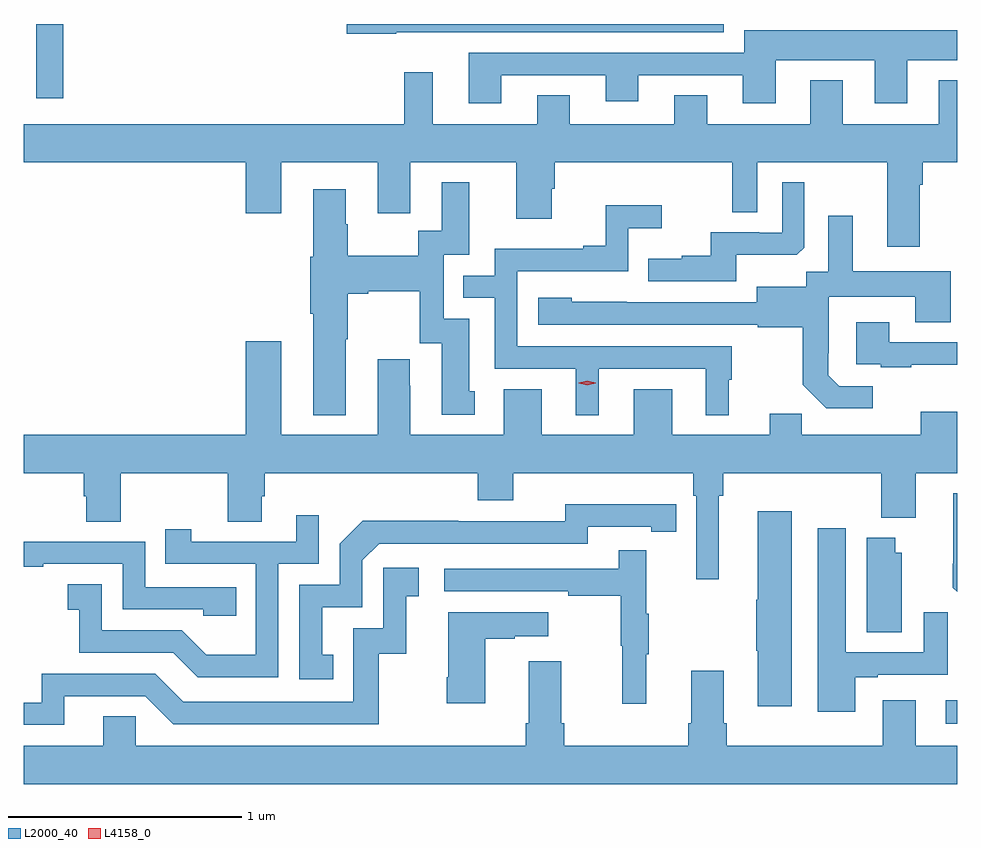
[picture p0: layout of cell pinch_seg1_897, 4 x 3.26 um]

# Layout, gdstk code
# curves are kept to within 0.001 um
import gdstk
lib = gdstk.Library(unit=1e-6, precision=1e-09)
def R(c, l, rs):  # rectangles x0, y0, x1, y1
    for r in rs: c.add(gdstk.rectangle(r[:2], r[2:], *l))
def P(c, l, *ps):  # polygons
    for p in ps: c.add(gdstk.Polygon(p, *l))
L2000_40 = (2000, 40)
L4158_0 = (4158, 0)

pinch_seg1_897 = lib.new_cell('pinch_seg1_897')
R(pinch_seg1_897, L2000_40, [(246.951,558.65,247.001,558.751), (243.054,561.33,243.17,561.649)])
P(pinch_seg1_897, L2000_40, [(244.598,561.614),(246.001,561.614),(246.001,561.649),(244.386,561.649),(244.386,561.607),(244.598,561.607)],
  [(245.047,561.429),(245.495,561.429),(245.495,561.317),(245.635,561.317),(245.635,561.429),(246.083,561.429),(246.083,561.309),(246.223,561.309),(246.223,561.494),(246.647,561.494),(246.647,561.309),(246.787,561.309),(246.787,561.494),(247.001,561.494),(247.001,561.622),(246.089,561.622),(246.089,561.525),(244.907,561.525),(244.907,561.309),(245.047,561.309)],
  [(246.841,560.96),(246.854,560.96),(246.854,561.056),(247.001,561.056),(247.001,561.409),(246.923,561.409),(246.923,561.22),(246.511,561.22),(246.511,561.409),(246.371,561.409),(246.371,561.22),(245.929,561.22),(245.929,561.344),(245.789,561.344),(245.789,561.22),(245.341,561.22),(245.341,561.344),(245.201,561.344),(245.201,561.22),(244.753,561.22),(244.753,561.442),(244.632,561.442),(244.632,561.22),(243.001,561.22),(243.001,561.056),(243.953,561.056),(243.953,560.838),(244.105,560.838),(244.105,561.056),(244.517,561.056),(244.517,560.838),(244.657,560.838),(244.657,561.056),(245.111,561.056),(245.111,560.814),(245.263,560.814),(245.263,560.943),(245.276,560.943),(245.276,561.056),(246.036,561.056),(246.036,560.842),(246.144,560.842),(246.144,561.056),(246.701,561.056),(246.701,560.694),(246.841,560.694)],
  [(244.381,560.299),(244.389,560.299),(244.389,560.492),(244.477,560.492),(244.477,560.504),(244.697,560.504),(244.697,560.28),(244.793,560.28),(244.793,559.974),(244.933,559.974),(244.933,560.076),(244.909,560.076),(244.909,560.385),(244.8,560.385),(244.8,560.661),(244.909,560.661),(244.909,560.971),(244.793,560.971),(244.793,560.762),(244.692,560.762),(244.692,560.656),(244.389,560.656),(244.389,560.79),(244.381,560.79),(244.381,560.941),(244.241,560.941),(244.241,560.652),(244.229,560.652),(244.229,560.408),(244.241,560.408),(244.241,559.973),(244.381,559.973)],
  [(246.055,560.66),(246.313,560.66),(246.345,560.691),(246.345,560.971),(246.252,560.971),(246.252,560.754),(246.152,560.754),(246.152,560.757),(245.945,560.757),(245.945,560.656),(245.821,560.656),(245.821,560.644),(245.677,560.644),(245.677,560.547),(246.055,560.547)],
  [(245.464,560.172),(245.924,560.172),(245.924,559.973),(246.022,559.973),(246.022,560.124),(246.034,560.124),(246.034,560.268),(245.115,560.268),(245.115,560.589),(245.592,560.589),(245.592,560.774),(245.734,560.774),(245.734,560.873),(245.494,560.873),(245.494,560.698),(245.399,560.698),(245.399,560.685),(245.019,560.685),(245.019,560.571),(244.885,560.571),(244.885,560.475),(245.019,560.475),(245.019,560.172),(245.366,560.172),(245.366,559.973),(245.464,559.973)],
  [(246.64,560.097),(246.495,560.097),(246.448,560.144),(246.448,560.239),(246.45,560.239),(246.45,560.48),(246.821,560.48),(246.821,560.371),(246.973,560.371),(246.973,560.59),(246.553,560.59),(246.553,560.827),(246.449,560.827),(246.449,560.588),(246.354,560.588),(246.354,560.524),(246.143,560.524),(246.143,560.457),(245.349,560.458),(245.349,560.476),(245.205,560.476),(245.205,560.361),(246.147,560.361),(246.147,560.349),(246.339,560.349),(246.339,560.103),(246.439,560.003),(246.64,560.003)],
  [(246.805,560.189),(247.001,560.189),(247.001,560.286),(246.709,560.286),(246.709,560.371),(246.569,560.371),(246.569,560.19),(246.673,560.19),(246.673,560.178),(246.805,560.178)],
  [(245.98,559.628),(245.999,559.628),(245.999,559.724),(246.676,559.724),(246.676,559.532),(246.823,559.532),(246.823,559.724),(247.001,559.724),(247.001,559.987),(246.845,559.987),(246.845,559.888),(246.335,559.888),(246.335,559.979),(246.197,559.979),(246.197,559.888),(245.779,559.888),(245.779,560.083),(245.615,560.083),(245.615,559.888),(245.221,559.888),(245.221,560.083),(245.057,560.083),(245.057,559.888),(244.657,559.888),(244.657,560.099),(244.654,560.099),(244.654,560.212),(244.517,560.212),(244.517,559.888),(244.105,559.888),(244.105,560.29),(243.953,560.29),(243.953,559.888),(243.001,559.888),(243.001,559.724),(243.257,559.724),(243.257,559.626),(243.269,559.626),(243.269,559.516),(243.417,559.516),(243.417,559.724),(243.874,559.724),(243.874,559.516),(244.021,559.516),(244.021,559.626),(244.034,559.626),(244.034,559.724),(244.946,559.724),(244.946,559.607),(245.098,559.607),(245.098,559.724),(245.87,559.724),(245.87,559.628),(245.883,559.628),(245.883,559.269),(245.98,559.269)],
  [(247.001,559.639),(246.984,559.639),(246.984,559.336),(246.983,559.336),(246.983,559.234),(247.001,559.216)],
  [(244.328,558.945),(244.279,558.945),(244.279,559.149),(244.452,559.149),(244.452,559.35),(244.524,559.422),(245.418,559.422),(245.418,559.494),(245.69,559.494),(245.69,559.474),(245.798,559.474),(245.798,559.59),(245.322,559.591),(245.322,559.518),(244.862,559.518),(244.862,559.52),(244.454,559.52),(244.356,559.422),(244.356,559.245),(244.182,559.245),(244.182,558.84),(244.328,558.84)],
  [(246.292,559.561),(246.146,559.561),(246.146,559.181),(246.139,559.181),(246.139,558.964),(246.146,558.964),(246.146,558.726),(246.292,558.726)],
  [(244.092,559.335),(244.266,559.335),(244.266,559.543),(244.169,559.543),(244.169,559.431),(243.718,559.431),(243.718,559.483),(243.607,559.483),(243.607,559.335),(243.996,559.335),(243.996,558.946),(243.782,558.946),(243.678,559.05),(243.336,559.05),(243.336,559.249),(243.189,559.249),(243.189,559.139),(243.238,559.139),(243.238,558.954),(243.641,558.954),(243.746,558.849),(244.092,558.849)],
  [(246.565,558.849),(246.661,558.849),(246.661,558.861),(246.961,558.861),(246.961,559.129),(246.857,559.129),(246.857,558.957),(246.523,558.957),(246.523,559.489),(246.404,559.489),(246.404,558.702),(246.565,558.702)],
  [(246.763,559.383),(246.736,559.383),(246.736,559.447),(246.614,559.447),(246.614,559.042),(246.763,559.042)],
  [(243.911,559.236),(243.522,559.236),(243.522,559.431),(243.001,559.431),(243.001,559.323),(243.085,559.323),(243.085,559.335),(243.426,559.335),(243.426,559.14),(243.771,559.14),(243.771,559.113),(243.911,559.113)],
  [(245.669,558.947),(245.68,558.947),(245.68,559.121),(245.669,559.121),(245.669,559.393),(245.551,559.393),(245.551,559.314),(244.803,559.314),(244.803,559.218),(245.335,559.218),(245.335,559.198),(245.559,559.198),(245.559,558.984),(245.566,558.984),(245.566,558.735),(245.669,558.735)],
  [(243.175,558.768),(243.522,558.768),(243.642,558.648),(244.522,558.648),(244.522,558.951),(244.64,558.951),(244.64,559.197),(244.693,559.197),(244.693,559.318),(244.542,559.318),(244.542,559.059),(244.413,559.059),(244.413,558.744),(243.684,558.744),(243.564,558.864),(243.078,558.864),(243.078,558.741),(243.001,558.741),(243.001,558.645),(243.175,558.645)],
  [(244.978,559.015),(245.105,559.015),(245.105,559.025),(245.248,559.025),(245.248,559.129),(244.82,559.129),(244.82,558.85),(244.813,558.85),(244.813,558.738),(244.978,558.738)],
  [(247.001,558.556),(246.823,558.556),(246.823,558.751),(246.683,558.751),(246.683,558.556),(246.014,558.556),(246.014,558.652),(246.001,558.652),(246.001,558.877),(245.861,558.877),(245.861,558.652),(245.849,558.652),(245.849,558.556),(245.318,558.556),(245.318,558.652),(245.305,558.652),(245.305,558.919),(245.165,558.919),(245.165,558.652),(245.153,558.652),(245.153,558.556),(243.48,558.556),(243.48,558.683),(243.341,558.683),(243.341,558.556),(243.001,558.556),(243.001,558.392),(247.001,558.392)])
P(pinch_seg1_897, L4158_0, [(245.415,560.1),(245.379,560.11),(245.379,560.11),(245.379,560.111),(245.415,560.12),(245.451,560.111),(245.451,560.11),(245.451,560.11)])

lib.write_gds('pinch_seg1_897.gds')
